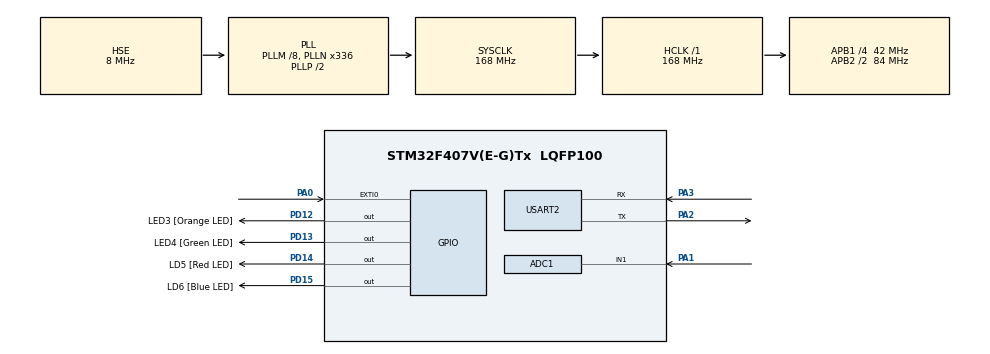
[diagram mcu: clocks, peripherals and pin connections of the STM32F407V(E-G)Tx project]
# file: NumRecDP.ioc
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ADC1.Channel-12\#ChannelRegularConversion=ADC_CHANNEL_1
ADC1.ClockPrescaler=ADC_CLOCK_SYNC_PCLK_DIV4
ADC1.ContinuousConvMode=DISABLE
ADC1.DMAContinuousRequests=DISABLE
ADC1.DataAlign=ADC_DATAALIGN_RIGHT
ADC1.DiscontinuousConvMode=DISABLE
ADC1.EOCSelection=ADC_EOC_SEQ_CONV
ADC1.EnableAnalogWatchDog=false
ADC1.ExternalTrigConv=ADC_SOFTWARE_START
ADC1.ExternalTrigConvEdge=ADC_EXTERNALTRIGCONVEDGE_NONE
ADC1.InjNumberOfConversion=0
ADC1.NbrOfConversion=1
ADC1.NbrOfConversionFlag=1
ADC1.Rank-12\#ChannelRegularConversion=1
ADC1.Resolution=ADC_RESOLUTION_8B
ADC1.SamplingTime-12\#ChannelRegularConversion=ADC_SAMPLETIME_480CYCLES
ADC1.ScanConvMode=DISABLE
ADC1.master=1
Dma.ADC1.0.Direction=DMA_PERIPH_TO_MEMORY
Dma.ADC1.0.FIFOMode=DMA_FIFOMODE_DISABLE
Dma.ADC1.0.Instance=DMA2_Stream0
Dma.ADC1.0.MemDataAlignment=DMA_MDATAALIGN_WORD
Dma.ADC1.0.MemInc=DMA_MINC_ENABLE
Dma.ADC1.0.Mode=DMA_NORMAL
Dma.ADC1.0.PeriphDataAlignment=DMA_PDATAALIGN_WORD
Dma.ADC1.0.PeriphInc=DMA_PINC_DISABLE
Dma.ADC1.0.Priority=DMA_PRIORITY_LOW
Dma.Request0=ADC1
Mcu.Family=STM32F4
Mcu.Name=STM32F407V(E-G)Tx
Mcu.Package=LQFP100
NVIC.ADC_IRQn=true\:0\:0\:false\:false\:true\:true
NVIC.DMA2_Stream0_IRQn=true\:0\:0\:false\:false\:true\:false
NVIC.EXTI0_IRQn=true\:0\:0\:false\:false\:true\:true
NVIC.PriorityGroup=NVIC_PRIORITYGROUP_4
PA0-WKUP.Signal=GPXTI0
PA1.Signal=ADCx_IN1
PA2.Mode=Asynchronous
PA2.Signal=USART2_TX
PA3.Mode=Asynchronous
PA3.Signal=USART2_RX
PD12.GPIO_Label=LED3 [Orange LED]
PD12.Signal=GPIO_Output
PD13.GPIO_Label=LED4 [Green LED]
PD13.Signal=GPIO_Output
PD14.GPIO_Label=LD5 [Red LED]
PD14.Signal=GPIO_Output
PD15.GPIO_Label=LD6 [Blue LED]
PD15.Signal=GPIO_Output
PH0-OSC_IN.Mode=HSE-External-Oscillator
PH0-OSC_IN.Signal=RCC_OSC_IN
PH1-OSC_OUT.Mode=HSE-External-Oscillator
PH1-OSC_OUT.Signal=RCC_OSC_OUT
ProjectManager.HeapSize=0x200
ProjectManager.StackSize=0x400
ProjectManager.TargetToolchain=MDK-ARM V5
RCC.48MHZClocksFreq_Value=84000000
RCC.AHBFreq_Value=168000000
RCC.APB1CLKDivider=RCC_HCLK_DIV4
RCC.APB1Freq_Value=42000000
RCC.APB1TimFreq_Value=84000000
RCC.APB2CLKDivider=RCC_HCLK_DIV2
RCC.APB2Freq_Value=84000000
RCC.APB2TimFreq_Value=168000000
RCC.CortexFreq_Value=168000000
RCC.HCLKFreq_Value=168000000
RCC.HSE_VALUE=8000000
RCC.HSI_VALUE=16000000
RCC.LSE_VALUE=32768
RCC.PLLM=8
RCC.PLLN=336
RCC.PLLSourceVirtual=RCC_PLLSOURCE_HSE
RCC.SYSCLKFreq_VALUE=168000000
RCC.SYSCLKSource=RCC_SYSCLKSOURCE_PLLCLK
RCC.VCOOutputFreq_Value=336000000
SH.ADCx_IN1.0=ADC1_IN1,IN1
USART2.VirtualMode=VM_ASYNC
board=NumRecDP

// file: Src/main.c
/**
  ******************************************************************************
  * @file           : main.c
  * @brief          : Main program body
  ******************************************************************************
  ** This notice applies to any and all portions of this file
  * that are not between comment pairs USER CODE BEGIN and
  * USER CODE END. Other portions of this file, whether
  * inserted by the user or by software development tools
  * are owned by their respective copyright owners.
  *
  * COPYRIGHT(c) 2018 STMicroelectronics
  *
  * Redistribution and use in source and binary forms, with or without modification,
  * are permitted provided that the following conditions are met:
  *   1. Redistributions of source code must retain the above copyright notice,
  *      this list of conditions and the following disclaimer.
  *   2. Redistributions in binary form must reproduce the above copyright notice,
  *      this list of conditions and the following disclaimer in the documentation
  *      and/or other materials provided with the distribution.
  *   3. Neither the name of STMicroelectronics nor the names of its contributors
  *      may be used to endorse or promote products derived from this software
  *      without specific prior written permission.
  *
  * THIS SOFTWARE IS PROVIDED BY THE COPYRIGHT HOLDERS AND CONTRIBUTORS "AS IS"
  * AND ANY EXPRESS OR IMPLIED WARRANTIES, INCLUDING, BUT NOT LIMITED TO, THE
  * IMPLIED WARRANTIES OF MERCHANTABILITY AND FITNESS FOR A PARTICULAR PURPOSE ARE
  * DISCLAIMED. IN NO EVENT SHALL THE COPYRIGHT HOLDER OR CONTRIBUTORS BE LIABLE
  * FOR ANY DIRECT, INDIRECT, INCIDENTAL, SPECIAL, EXEMPLARY, OR CONSEQUENTIAL
  * DAMAGES (INCLUDING, BUT NOT LIMITED TO, PROCUREMENT OF SUBSTITUTE GOODS OR
  * SERVICES; LOSS OF USE, DATA, OR PROFITS; OR BUSINESS INTERRUPTION) HOWEVER
  * CAUSED AND ON ANY THEORY OF LIABILITY, WHETHER IN CONTRACT, STRICT LIABILITY,
  * OR TORT (INCLUDING NEGLIGENCE OR OTHERWISE) ARISING IN ANY WAY OUT OF THE USE
  * OF THIS SOFTWARE, EVEN IF ADVISED OF THE POSSIBILITY OF SUCH DAMAGE.
  *
  ******************************************************************************
  */
#include "main.h"
#include "stm32f4xx_hal.h"

/* USER CODE BEGIN Includes */
#include <stdint.h>
#include <stdbool.h>
#include <stdio.h>
#include <stdlib.h>
#include <math.h>
#include "arm_math.h"
#include "arm_const_structs.h"
#include "mfccFunc.h"
#include "constants.h"
#include "classification.h"

/* USER CODE END Includes */

ADC_HandleTypeDef hadc1;
DMA_HandleTypeDef hdma_adc1;

UART_HandleTypeDef huart2;

/* USER CODE BEGIN PV */
/* Private variables ---------------------------------------------------------*/
const int bufferSize = 4000;//2000
const int speechSize = 4000;
const int energyFrame = 40;
float mfcc[24*13];
float results[10];
static float speech[speechSize]; //0.5s of speech
static uint32_t ADCBuffer[bufferSize];

int callibration = 0;
float temp_thresh = 0;
float set_thresh = 0;
int DMA_Active = 0;
int STOP_DMA = 0;
float energy = 0;
int start = -1;
int speechCap = 0;
int fillCounter = 0;

/* USER CODE END PV */

void SystemClock_Config(void);
static void MX_GPIO_Init(void);
static void MX_DMA_Init(void);
static void MX_ADC1_Init(void);
static void MX_USART2_UART_Init(void);

/* USER CODE BEGIN PFP */
/* Private function prototypes -----------------------------------------------*/
int energyDetect(int index);
void mahalaTrans(float *Speech, int size);
void UART_Transmit_F(float *array, int size);
void UART_Transmit_R(float *array, int size);
void UART_Transmit_U(uint32_t *array, int size);
/* USER CODE END PFP */

/* USER CODE BEGIN 0 */
/* */
int energyDetect(int index){
		if(callibration < 4){ //While callibrating, we just add up all the energy of every frame and then get the average to set the threshold

					temp_thresh = 0;
					for(int i = index; i < index+(bufferSize/2)-energyFrame;i+=20){ //take windows of 40 & increase by 20 (half buffer is 2000)
							energy = 0;
							for(int j = 0; j < energyFrame; j++){
									energy = energy + ADCBuffer[i+j]*ADCBuffer[i+j];
							}
							temp_thresh = temp_thresh + energy;
					}
					set_thresh = set_thresh + temp_thresh;

		}else{
			for(int i = index; i < index+(bufferSize/2)-energyFrame;i+=20){ //take windows of 40 & increase by 20 (half buffer is 2000)

				if(start == -1){ //if speech hasn't been detected when energyDetect is called we look for when we can set the start index

						energy = 0;
						for(int j = 0; j < energyFrame; j++){ //compute evergy of frame
							energy = energy + ADCBuffer[i+j]*ADCBuffer[i+j];
						}

						if(energy > set_thresh+2000000){ //threshold detected...
								start = i;
								int pointer = i;

										for(int h = 0; h < 6*energyFrame; h++){ //When speech is detected, we go back 6 frames and fill speech up with those
											speech[6*energyFrame-fillCounter] = ADCBuffer[pointer];
											pointer--;
											if(pointer < 0){
												pointer = bufferSize-1;
											}
											fillCounter++;
										}

								for(int k = 0; k < energyFrame;k++){ //after back tracking 6 frames fill speech buffer with the remaining values in half buffer from the starting index
									speech[k+fillCounter] = ADCBuffer[i+k];
								}
								fillCounter = fillCounter + energyFrame;
						}

				}else if(fillCounter < speechSize){ //if speech has been previously detected we just need to make sure that we dont overflow speech buffer
					if(i == 0){
						for(int k = 0; k < energyFrame;k++){

							speech[k+fillCounter] = ADCBuffer[i+k];
						}
						fillCounter = fillCounter + energyFrame;
					}else{
						for(int k = 0; k < (energyFrame/2);k++){

							speech[k+fillCounter] = ADCBuffer[i+(energyFrame/2)+k];
						}
						fillCounter = fillCounter + (energyFrame/2);
					}

					if(fillCounter > speechSize-2){
						HAL_ADC_Stop_DMA(&hadc1); // Stop DMA for speech classification, need to restart it once number is recognized
						STOP_DMA = 1; //stop DMA flag used by the systick interrupt (will need to enventaully replace with Timer)
						fillCounter = 0; //reset fill counter for next speech to be captured
						speechCap = 1; //indicate that speech buffer has been filled
						start = -1; //reset starting index
						mahalaTrans(speech,speechSize);

						//Toggle LEDS to indicate that speech was captured
						HAL_GPIO_TogglePin(GPIOD, LED3_Pin);
						HAL_GPIO_TogglePin(GPIOD, LED4_Pin);
						HAL_GPIO_TogglePin(GPIOD, LD6_Pin);
						//UART_Transmit_F(speech,speechSize); //for debugging purposes

						printf("UART DONE!!\n");

						for(int i = 0; i < 4000; i++){
							//buffer[i] = 32768*(buffer[i]);
							speech[i] = 32768*speech[i];
						}

						/* Pre-emphasis filter */
						for(int i = 1; i < 4000; i++){
							speech[i] = speech[i] - 0.95*speech[i-1];
						}

						mfccFunc(speech,mfcc);
						//UART_Transmit_F(mfcc,24*13);

						printf("mfcc DONE!!\n");

						classification(mfcc,results);
						UART_Transmit_R(results,10);
						printf("Classification DONE!!\n");

						//TODO: getting a hardfault at the end due to eithe space limitations or code implementation (USING CMSIS instead of my own fft and matrix multiplications may help)
						return 1;
					}
				}

			}

		}
		return 0;
}

//Mahalanobis Transform
void mahalaTrans(float *Speech, int size){
	float mean;
	for(int i = 0; i < size; i++){
		mean = mean + Speech[i];
	}
	mean = mean/size;
	float var;
	for(int i = 0; i < size; i++){
		var = var + pow((Speech[i]-mean),2);
	}
	var = var/size;
	for(int i = 0; i < size; i++){
		Speech[i] = (Speech[i]-mean)/var;
	}

	Speech[0] = Speech[2]; // first index is abnormally high, therefore we assign it a normal value
}

/* called when 1st half of buffer is filled */
void HAL_ADC_ConvHalfCpltCallback(ADC_HandleTypeDef* AdcHandle)
		{
			energyDetect(0);
		}

/* called when 2nd half of buffer is filled */
/* will increment callibration counter by 1 (every 0.5 seconds) */
void HAL_ADC_ConvCpltCallback(ADC_HandleTypeDef* AdcHandle)
    {
			/* start DMA again using same buffer pointer (circular)*/
			HAL_ADC_Stop_DMA(&hadc1);
			HAL_ADC_Start_DMA(&hadc1,ADCBuffer,bufferSize);
			energyDetect(bufferSize/2);

			/* Will trigger when trheshold stage is complete */
			if(callibration < 4){
				callibration = callibration + 1;
			}
			if(callibration == 4){
				callibration = callibration + 1;
				HAL_GPIO_TogglePin(GPIOD, LD5_Pin); //Toggle LED to indicate that callibration is done
				float div = ((callibration-1)*2*98); //98 = (2000-40/20)
				set_thresh = set_thresh/div; //compute average for average energy
			}
    }

/* Function to send uint32_t buffer over UART */
void UART_Transmit_U(uint32_t *array, int size)
		{
			char send[9];
			printf("Sending uint via UART...\n");
			for(int i = 0; i < size; i++){
					sprintf(send, "%lu,\r\n",array[i]);
					HAL_UART_Transmit(&huart2, send, 9, 1000);
			}
		}

/* Function to send float buffer over UART */
void UART_Transmit_F(float *array, int size)
		{
			char send[20];
			printf("Sending float via UART...\n");
			for(int i = 0; i < size; i++){
					sprintf(send, " %f,\r\n",(float)array[i]);
					HAL_UART_Transmit(&huart2, send, 9, 1000);
					sprintf(send, "      \r\n");
					HAL_UART_Transmit(&huart2, send, 9, 1000);

			}
			printf("Done UART...\n");
		}

/* Function to send results from NN over UART */
void UART_Transmit_R(float *array, int size)
		{
			char send[25];
			char send2[25];
			printf("Sending float via UART...\n");
					sprintf(send, "\nResults\r\n");
					HAL_UART_Transmit(&huart2, send, 10, 1000);
			for(int i = 0; i < size; i++){
				sprintf(send2,"   %d:    ",i);
					HAL_UART_Transmit(&huart2, send2, 10, 1000);
					HAL_UART_Transmit(&huart2, send2, 7, 1000);
					sprintf(send, "%f\r", array[i]);
					HAL_UART_Transmit(&huart2, send, 9, 1000);
					sprintf(send, "      \r\n");
					HAL_UART_Transmit(&huart2, send, 8, 1000);

			}
			printf("Done UART...\n");
		}

/* USER CODE END 0 */

int main(void)
{

  /* MCU Configuration----------------------------------------------------------*/

  /* Reset of all peripherals, Initializes the Flash interface and the Systick. */
  HAL_Init();

  /* Configure the system clock */
  SystemClock_Config();

  /* Initialize all configured peripherals */
  MX_GPIO_Init();
  MX_DMA_Init();
  MX_ADC1_Init();
  MX_USART2_UART_Init();
  /* USER CODE BEGIN 2 */

	HAL_ADC_Start(&hadc1);

	DMA_Active = 1;
	HAL_ADC_Start_DMA(&hadc1,ADCBuffer,bufferSize);

  /* USER CODE END 2 */

  /* Infinite loop */
  while (1)
  {

  }

}

void SystemClock_Config(void)
{

  RCC_OscInitTypeDef RCC_OscInitStruct;
  RCC_ClkInitTypeDef RCC_ClkInitStruct;

    /**Configure the main internal regulator output voltage
    */
  __HAL_RCC_PWR_CLK_ENABLE();

  __HAL_PWR_VOLTAGESCALING_CONFIG(PWR_REGULATOR_VOLTAGE_SCALE1);

    /**Initializes the CPU, AHB and APB busses clocks
    */
  RCC_OscInitStruct.OscillatorType = RCC_OSCILLATORTYPE_HSE;
  RCC_OscInitStruct.HSEState = RCC_HSE_ON;
  RCC_OscInitStruct.PLL.PLLState = RCC_PLL_ON;
  RCC_OscInitStruct.PLL.PLLSource = RCC_PLLSOURCE_HSE;
  RCC_OscInitStruct.PLL.PLLM = 8;
  RCC_OscInitStruct.PLL.PLLN = 336;
  RCC_OscInitStruct.PLL.PLLP = RCC_PLLP_DIV2;
  RCC_OscInitStruct.PLL.PLLQ = 4;
  if (HAL_RCC_OscConfig(&RCC_OscInitStruct) != HAL_OK)
  {
    _Error_Handler(__FILE__, __LINE__);
  }

    /**Initializes the CPU, AHB and APB busses clocks
    */
  RCC_ClkInitStruct.ClockType = RCC_CLOCKTYPE_HCLK|RCC_CLOCKTYPE_SYSCLK
                              |RCC_CLOCKTYPE_PCLK1|RCC_CLOCKTYPE_PCLK2;
  RCC_ClkInitStruct.SYSCLKSource = RCC_SYSCLKSOURCE_PLLCLK;
  RCC_ClkInitStruct.AHBCLKDivider = RCC_SYSCLK_DIV1;
  RCC_ClkInitStruct.APB1CLKDivider = RCC_HCLK_DIV4;
  RCC_ClkInitStruct.APB2CLKDivider = RCC_HCLK_DIV2;

  if (HAL_RCC_ClockConfig(&RCC_ClkInitStruct, FLASH_LATENCY_5) != HAL_OK)
  {
    _Error_Handler(__FILE__, __LINE__);
  }

    /**Configure the Systick interrupt time
    */
  HAL_SYSTICK_Config(HAL_RCC_GetHCLKFreq()/8000); //FORCING systick clock to be at 8kHz (TODO: trigger clock via timer instead of systick)

    /**Configure the Systick
    */
  HAL_SYSTICK_CLKSourceConfig(SYSTICK_CLKSOURCE_HCLK);

  /* SysTick_IRQn interrupt configuration */
  HAL_NVIC_SetPriority(SysTick_IRQn, 0, 0);
}

/* ADC1 init function */
static void MX_ADC1_Init(void)
{

  ADC_ChannelConfTypeDef sConfig;

    /**Configure the global features of the ADC (Clock, Resolution, Data Alignment and number of conversion)
    */
  hadc1.Instance = ADC1;
  hadc1.Init.ClockPrescaler = ADC_CLOCK_SYNC_PCLK_DIV4;
  hadc1.Init.Resolution = ADC_RESOLUTION_12B;
  hadc1.Init.ScanConvMode = DISABLE;
  hadc1.Init.ContinuousConvMode = DISABLE;
  hadc1.Init.DiscontinuousConvMode = DISABLE;
  hadc1.Init.ExternalTrigConvEdge = ADC_EXTERNALTRIGCONVEDGE_NONE;
  hadc1.Init.ExternalTrigConv = ADC_SOFTWARE_START;
  hadc1.Init.DataAlign = ADC_DATAALIGN_RIGHT;
  hadc1.Init.NbrOfConversion = 1;
  hadc1.Init.DMAContinuousRequests = DISABLE;
  hadc1.Init.EOCSelection = ADC_EOC_SEQ_CONV;
  if (HAL_ADC_Init(&hadc1) != HAL_OK)
  {
    _Error_Handler(__FILE__, __LINE__);
  }

    /**Configure for the selected ADC regular channel its corresponding rank in the sequencer and its sample time.
    */
  sConfig.Channel = ADC_CHANNEL_1;
  sConfig.Rank = 1;
  sConfig.SamplingTime = ADC_SAMPLETIME_480CYCLES;
  if (HAL_ADC_ConfigChannel(&hadc1, &sConfig) != HAL_OK)
  {
    _Error_Handler(__FILE__, __LINE__);
  }

}

/* USART2 init function */
static void MX_USART2_UART_Init(void)
{

  huart2.Instance = USART2;
  huart2.Init.BaudRate = 115200;
  huart2.Init.WordLength = UART_WORDLENGTH_8B;
  huart2.Init.StopBits = UART_STOPBITS_1;
  huart2.Init.Parity = UART_PARITY_NONE;
  huart2.Init.Mode = UART_MODE_TX_RX;
  huart2.Init.HwFlowCtl = UART_HWCONTROL_NONE;
  huart2.Init.OverSampling = UART_OVERSAMPLING_16;
  if (HAL_UART_Init(&huart2) != HAL_OK)
  {
    _Error_Handler(__FILE__, __LINE__);
  }

}

static void MX_DMA_Init(void)
{
  /* DMA controller clock enable */
  __HAL_RCC_DMA2_CLK_ENABLE();

  /* DMA interrupt init */
  /* DMA2_Stream0_IRQn interrupt configuration */
  HAL_NVIC_SetPriority(DMA2_Stream0_IRQn, 0, 0);
  HAL_NVIC_EnableIRQ(DMA2_Stream0_IRQn);

}

/** Configure pins as
        * Analog
        * Input
        * Output
        * EVENT_OUT
        * EXTI
*/
static void MX_GPIO_Init(void)
{

  GPIO_InitTypeDef GPIO_InitStruct;

  /* GPIO Ports Clock Enable */
  __HAL_RCC_GPIOH_CLK_ENABLE();
  __HAL_RCC_GPIOA_CLK_ENABLE();
  __HAL_RCC_GPIOD_CLK_ENABLE();

  /*Configure GPIO pin Output Level */
  HAL_GPIO_WritePin(GPIOD, LED3_Pin|LED4_Pin|LD5_Pin|LD6_Pin, GPIO_PIN_RESET);

  /*Configure GPIO pin : PA0 */
  GPIO_InitStruct.Pin = GPIO_PIN_0;
  GPIO_InitStruct.Mode = GPIO_MODE_IT_RISING;
  GPIO_InitStruct.Pull = GPIO_NOPULL;
  HAL_GPIO_Init(GPIOA, &GPIO_InitStruct);

  /*Configure GPIO pins : LED3_Pin LED4_Pin LD5_Pin LD6_Pin */
  GPIO_InitStruct.Pin = LED3_Pin|LED4_Pin|LD5_Pin|LD6_Pin;
  GPIO_InitStruct.Mode = GPIO_MODE_OUTPUT_PP;
  GPIO_InitStruct.Pull = GPIO_NOPULL;
  GPIO_InitStruct.Speed = GPIO_SPEED_FREQ_LOW;
  HAL_GPIO_Init(GPIOD, &GPIO_InitStruct);

  /* EXTI interrupt init*/
  HAL_NVIC_SetPriority(EXTI0_IRQn, 0, 0);
  HAL_NVIC_EnableIRQ(EXTI0_IRQn);

}

void _Error_Handler(char *file, int line)
{
  while(1)
  {
  }
}

/************************ (C) COPYRIGHT STMicroelectronics *****END OF FILE****/
